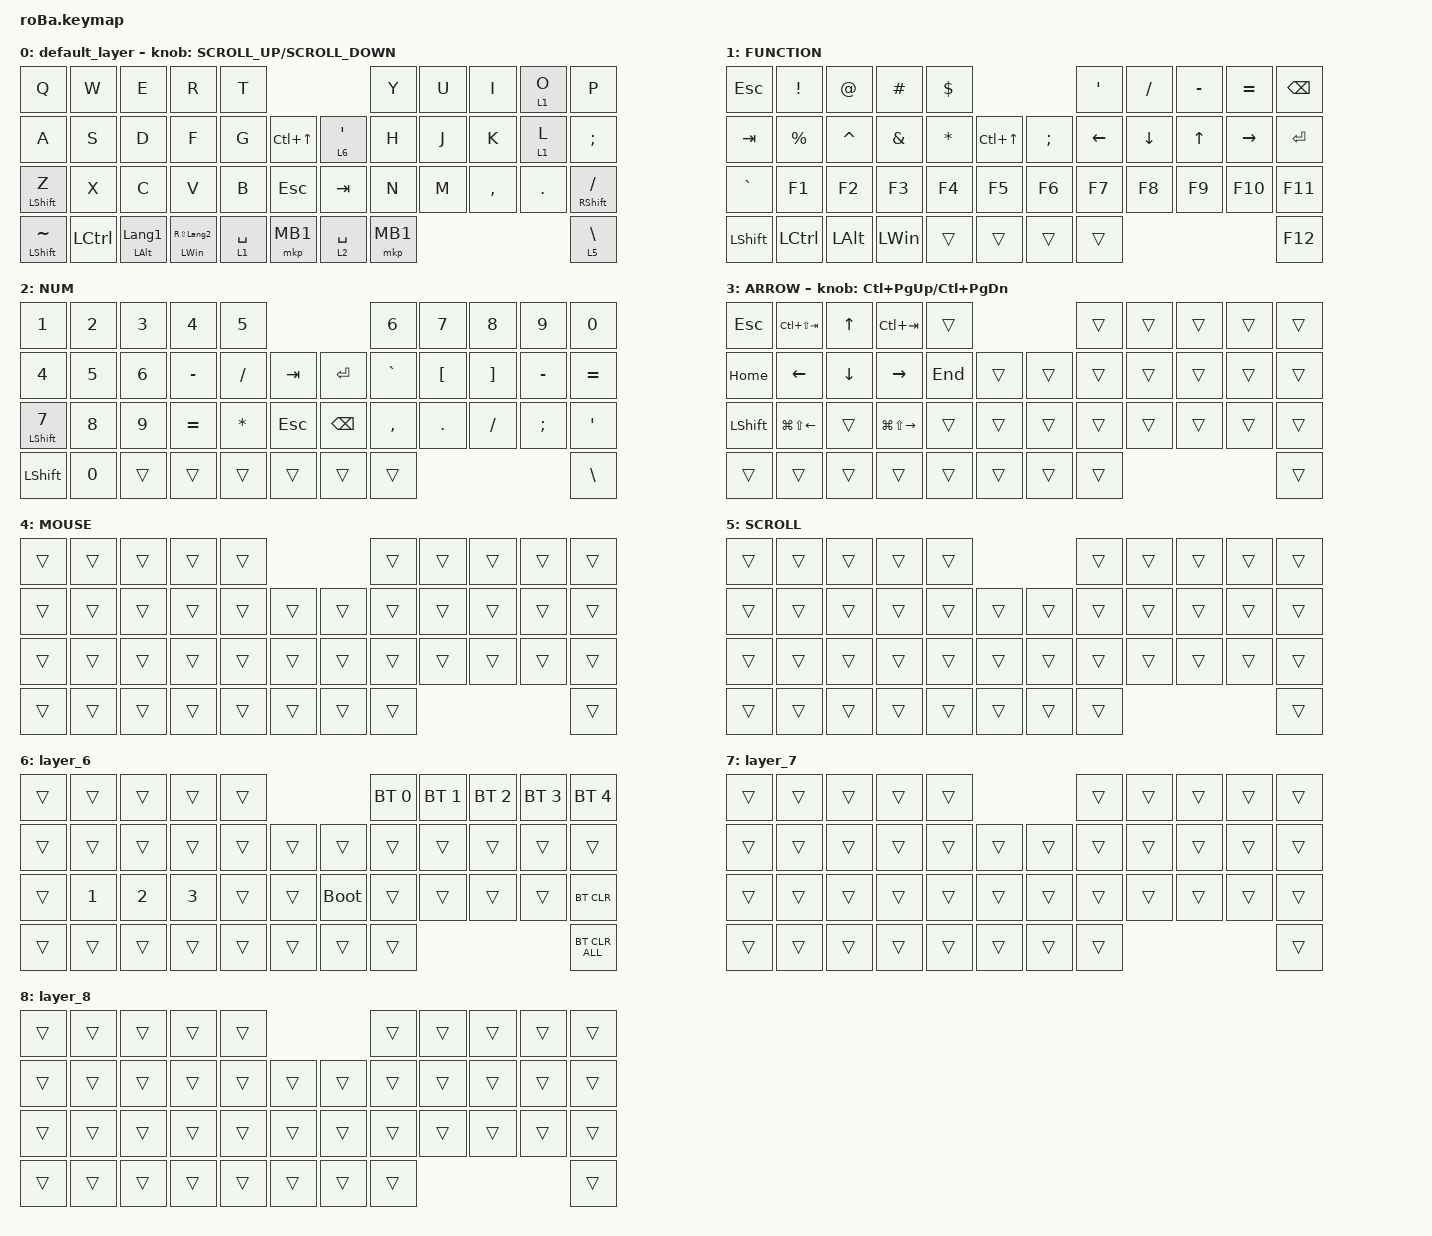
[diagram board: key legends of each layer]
#include <behaviors.dtsi>
#include <dt-bindings/zmk/bt.h>
#include <dt-bindings/zmk/keys.h>
#include <dt-bindings/zmk/pointing.h>

#define MOUSE 4
#define SCROLL 5
#define NUM 6

&mt {
    flavor = "balanced";
    quick-tap-ms = <0>;
};

/ {
    combos {
        compatible = "zmk,combos";

        tab {
            bindings = <&kp TAB>;
            key-positions = <11 10>;
        };

        enter {
            bindings = <&kp ENTER>;
            key-positions = <20 21>;
        };

        escape {
            bindings = <&kp ESCAPE>;
            key-positions = <0 1>;
        };

        delete {
            bindings = <&kp BACKSPACE>;
            key-positions = <9 8>;
        };

        tab2 {
            bindings = <&kp TAB>;
            key-positions = <11 12>;
        };

        delete2 {
            bindings = <&kp BACKSPACE>;
            key-positions = <8 7>;
        };

        enter2 {
            bindings = <&kp ENTER>;
            key-positions = <20 19>;
        };

        esc2 {
            bindings = <&kp ESCAPE>;
            key-positions = <1 2>;
        };
    };

    macros {
        to_layer_0: to_layer_0 {
            compatible = "zmk,behavior-macro-one-param";
            #binding-cells = <1>;
            bindings = <&to 0 &macro_param_1to1 &kp MACRO_PLACEHOLDER>;
            label = "TO_LAYER_0";
        };
    };

    behaviors {
        lt_to_layer_0: lt_to_layer_0 {
            compatible = "zmk,behavior-hold-tap";
            label = "LAYER_TAP_TO_0";
            bindings = <&mo>, <&to_layer_0>;

            #binding-cells = <2>;
            tapping-term-ms = <200>;
        };
    };

    keymap {
        compatible = "zmk,keymap";

        default_layer {
            bindings = <
&kp Q                 &kp W             &kp E                    &kp R                        &kp T                                                                 &kp Y     &kp U  &kp I      &lt 1 O  &kp P
&kp A                 &kp S             &kp D                    &kp F                        &kp G                   &kp LC(UP_ARROW)      &lt 6 SQT               &kp H     &kp J  &kp K      &lt 1 L  &kp SEMICOLON
&mt LEFT_SHIFT Z      &kp X             &kp C                    &kp V                        &kp B                   &kp ESCAPE            &kp TAB                 &kp N     &kp M  &kp COMMA  &kp DOT  &mt RIGHT_SHIFT SLASH
&mt LEFT_SHIFT TILDE  &kp LEFT_CONTROL  &mt LEFT_ALT LANGUAGE_1  &mt LEFT_WIN RS(LANGUAGE_2)  &lt_to_layer_0 1 SPACE  &mkp MB1              &lt_to_layer_0 2 SPACE  &mkp MB1                             &lt 5 BACKSLASH
            >;

            sensor-bindings = <&inc_dec_kp K_SCROLL_UP K_SCROLL_DOWN>;
        };

        FUNCTION {
            bindings = <
&kp ESCAPE      &kp EXCLAMATION   &kp AT_SIGN   &kp HASH       &kp DOLLAR                                         &kp SQT         &kp SLASH       &kp MINUS     &kp EQUAL  &kp BACKSPACE
&kp TAB         &kp PERCENT       &kp CARET     &kp AMPERSAND  &kp ASTERISK  &kp LC(UP_ARROW)      &kp SEMICOLON  &kp LEFT_ARROW  &kp DOWN_ARROW  &kp UP_ARROW  &kp RIGHT  &kp ENTER
&kp GRAVE       &kp F1            &kp F2        &kp F3         &kp F4        &kp F5                &kp F6         &kp F7          &kp F8          &kp F9        &kp F10    &kp F11
&kp LEFT_SHIFT  &kp LEFT_CONTROL  &kp LEFT_ALT  &kp LEFT_WIN   &trans        &trans                &trans         &trans                                                   &kp F12
            >;
        };

        NUM {
            bindings = <
&kp NUMBER_1       &kp NUMBER_2  &kp NUMBER_3  &kp NUMBER_4  &kp N5                                       &kp N6     &kp N7            &kp N8             &kp N9         &kp N0
&kp NUMBER_4       &kp N5        &kp NUMBER_6  &kp MINUS     &kp SLASH     &kp TAB         &kp RETURN     &kp GRAVE  &kp LEFT_BRACKET  &kp RIGHT_BRACKET  &kp MINUS      &kp EQUAL
&mt LEFT_SHIFT N7  &kp N8        &kp N9        &kp EQUAL     &kp ASTERISK  &kp ESCAPE      &kp BACKSPACE  &kp COMMA  &kp PERIOD        &kp SLASH          &kp SEMICOLON  &kp SQT
&kp LEFT_SHIFT     &kp N0        &trans        &trans        &trans        &trans          &trans         &trans                                                         &kp BACKSLASH
            >;
        };

        ARROW {
            bindings = <
&kp ESCAPE      &kp LC(LS(TAB))         &kp UP_ARROW    &kp LC(TAB)              &trans                       &trans  &trans  &trans  &trans  &trans
&kp HOME        &kp LEFT_ARROW          &kp DOWN_ARROW  &kp RIGHT_ARROW          &kp END  &trans      &trans  &trans  &trans  &trans  &trans  &trans
&kp LEFT_SHIFT  &kp LG(LS(LEFT_ARROW))  &trans          &kp LG(LS(RIGHT_ARROW))  &trans   &trans      &trans  &trans  &trans  &trans  &trans  &trans
&trans          &trans                  &trans          &trans                   &trans   &trans      &trans  &trans                          &trans
            >;

            sensor-bindings = <&inc_dec_kp LC(PAGE_UP) LC(PAGE_DOWN)>;
        };

        MOUSE {
            bindings = <
&trans  &trans  &trans  &trans  &trans                      &trans  &trans  &trans  &trans  &trans
&trans  &trans  &trans  &trans  &trans  &trans      &trans  &trans  &trans  &trans  &trans  &trans
&trans  &trans  &trans  &trans  &trans  &trans      &trans  &trans  &trans  &trans  &trans  &trans
&trans  &trans  &trans  &trans  &trans  &trans      &trans  &trans                          &trans
            >;
        };

        SCROLL {
            bindings = <
&trans  &trans  &trans  &trans  &trans                      &trans  &trans  &trans  &trans  &trans
&trans  &trans  &trans  &trans  &trans  &trans      &trans  &trans  &trans  &trans  &trans  &trans
&trans  &trans  &trans  &trans  &trans  &trans      &trans  &trans  &trans  &trans  &trans  &trans
&trans  &trans  &trans  &trans  &trans  &trans      &trans  &trans                          &trans
            >;
        };

        layer_6 {
            bindings = <
&trans  &trans        &trans        &trans        &trans                           &bt BT_SEL 0  &bt BT_SEL 1  &bt BT_SEL 2  &bt BT_SEL 3  &bt BT_SEL 4
&trans  &trans        &trans        &trans        &trans  &trans      &trans       &trans        &trans        &trans        &trans        &trans
&trans  &kp NUMBER_1  &kp NUMBER_2  &kp NUMBER_3  &trans  &trans      &bootloader  &trans        &trans        &trans        &trans        &bt BT_CLR
&trans  &trans        &trans        &trans        &trans  &trans      &trans       &trans                                                  &bt BT_CLR_ALL
            >;
        };

        layer_7 {
            bindings = <
&trans  &trans  &trans  &trans  &trans                      &trans  &trans  &trans  &trans  &trans
&trans  &trans  &trans  &trans  &trans  &trans      &trans  &trans  &trans  &trans  &trans  &trans
&trans  &trans  &trans  &trans  &trans  &trans      &trans  &trans  &trans  &trans  &trans  &trans
&trans  &trans  &trans  &trans  &trans  &trans      &trans  &trans                          &trans
            >;
        };

        layer_8 {
            bindings = <
&trans  &trans  &trans  &trans  &trans                      &trans  &trans  &trans  &trans  &trans
&trans  &trans  &trans  &trans  &trans  &trans      &trans  &trans  &trans  &trans  &trans  &trans
&trans  &trans  &trans  &trans  &trans  &trans      &trans  &trans  &trans  &trans  &trans  &trans
&trans  &trans  &trans  &trans  &trans  &trans      &trans  &trans                          &trans
            >;
        };
    };
};
